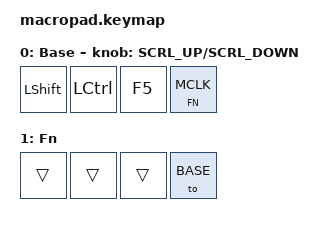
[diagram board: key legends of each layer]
/* Must precede pointing.h: SCRL_UP/SCRL_DOWN bake this value in at include time. */
#define ZMK_POINTING_DEFAULT_SCRL_VAL 80
#include <dt-bindings/zmk/pointing.h>

#include <behaviors.dtsi>
#include <dt-bindings/zmk/keys.h>

#define BASE 0
#define FN   1

/ {
    behaviors {
        lm: layer_middle {
            compatible = "zmk,behavior-hold-tap";
            #binding-cells = <2>;
            flavor = "hold-preferred";
            tapping-term-ms = <200>;
            quick-tap-ms = <200>;
            require-prior-idle-ms = <125>;
            bindings = <&mo>, <&mkp>;
        };

        wheel_rotate: sensor_scroll {
            compatible = "zmk,behavior-sensor-rotate-var";
            #sensor-binding-cells = <2>;
            bindings = <&msc>, <&msc>;
            tap-ms = <25>;
        };
    };

    keymap {
        compatible = "zmk,keymap";

        default_layer {
            display-name = "Base";
            bindings = <
        &kp LSHFT    &kp LCTRL    &kp F5    &lm FN MCLK
            >;
            sensor-bindings = <&wheel_rotate SCRL_UP SCRL_DOWN>;
        };

        fn_layer {
            display-name = "Fn";
            bindings = <
        &trans    &trans    &trans    &to BASE
            >;
        };
    };
};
